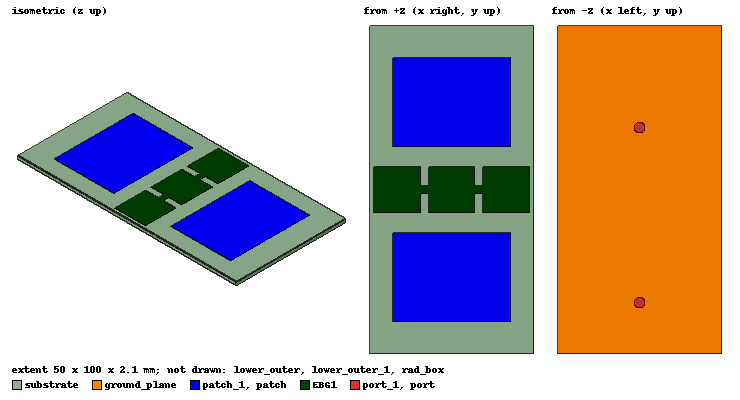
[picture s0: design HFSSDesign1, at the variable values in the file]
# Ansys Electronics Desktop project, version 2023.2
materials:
  vacuum: permittivity=1
  FR4_epoxy: permittivity=4.4 dielectric_loss_tangent=0.02
  pec: conductivity=1e+30
  air: permittivity=1.0006 permeability=1.0000004

design HFSSDesign1 (HFSS, HFSS Terminal Network, model units mm)
options: Allow_Material_Override
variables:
  subx = 50mm
  suby = 100mm
  subz = 1.6mm
  w = 36.1mm
  l = 27.4mm
  dy = 25.94mm
  fy = 5.92mm
  s = 14.1mm
  sp = 2.5mm
  via_r = 0.63mm
  sp_strip = 2.5mm
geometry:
  substrate [FR4_epoxy] = box(corner=(0mm, 0mm, 0mm), size=(subx, suby, subz))
  ground_plane = rectangle(corner=(0mm, 0mm, 0mm), x_size=subx, y_size=suby)
  patch = rectangle(corner=(subx/2-w/2, (suby-l-l-dy)/2, subz), x_size=w, y_size=l)
  patch_1 = patch.duplicate_along_line(step=(0mm, dy+l, 0mm), total=2)
  ground_cut = circle(normal=Z, centre=(subx/2-w/2+w/2, (suby-l-l-dy)/2+fy, 0), radius=1.6mm)
  ground_cut_1 = ground_cut.duplicate_along_line(step=(0mm, dy+l, 0mm), total=2)
  ground_plane.subtract(ground_cut)
  ground_plane.subtract(ground_cut_1)
  upper_inner [pec] = cylinder(axis=Z, base_centre=(subx/2-w/2+w/2, (suby-l-l-dy)/2+fy, 0mm), radius=0.6mm, height=subz)
  upper_inner_1 [pec] = upper_inner.duplicate_along_line(step=(0mm, dy+l, 0mm), total=2)
  lower_inner [pec] = cylinder(axis=Z, base_centre=(subx/2-w/2+w/2, (suby-l-l-dy)/2+fy, -0.5mm), radius=0.6mm, height=0.5mm)
  lower_inner_1 [pec] = lower_inner.duplicate_along_line(step=(0mm, dy+l, 0mm), total=2)
  lower_outer [vacuum] = cylinder(axis=Z, base_centre=(subx/2-w/2+w/2, (suby-l-l-dy)/2+fy, -0.5mm), radius=1.6mm, height=0.5mm)
  lower_outer_1 [vacuum] = lower_outer.duplicate_along_line(step=(0mm, dy+l, 0mm), total=2)
  port = circle(normal=Z, centre=(subx/2-w/2+w/2, (suby-l-l-dy)/2+fy, -0.5mm), radius=1.6mm)
  port_1 = port.duplicate_along_line(step=(0mm, dy+l, 0mm), total=2)
  rad_box [air] = box(corner=(-4mm, -4mm, 0mm), size=(subx+8mm, suby+8mm, subz*10))
  EBG1 = rectangle(corner=(subx/2-s/2, suby/2-s/2, subz), x_size=s, y_size=s)
  via [pec] = cylinder(axis=Z, base_centre=(subx/2, suby/2, 0), radius=via_r, height=subz)
  EBG1_2 = EBG1.duplicate_along_line(step=(-s-sp, 0mm, 0mm), total=5)  # copies kept: 1
  EBG1_6 = EBG1.duplicate_along_line(step=(s+sp, 0mm, 0mm), total=5)  # copies kept: 1
  patch2 = rectangle(corner=(subx/2-s/2-sp, suby/2-sp_strip/2, subz), x_size=sp, y_size=sp_strip)
  patch2_1 = patch2.duplicate_along_line(step=(s+sp, 0mm, 0mm), total=2)
  EBG1.unite(patch2, EBG1_2, EBG1_6, patch2_1)
  via_1 [pec] = via.duplicate_along_line(step=(-s-sp, 0mm, 0mm), total=2)
  via_2 [pec] = via.duplicate_along_line(step=(s+sp, 0mm, 0mm), total=2)
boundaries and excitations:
  PerfE1: Perfect E Objects=ground_plane
  PerfE2: Perfect E Objects=patch
  PerfE3: Perfect E Objects=patch_1
  Rad1: Radiation Faces=rad_box.face(+z, +y, +x, -y, -x)
  PerfE4: Perfect E Objects=EBG1
  lower_inner_T1: Terminal port=1 Faces=lower_inner.face(-z end) TerminalResistance=50ohm
  lower_inner_1_T1: Terminal port=2 Faces=lower_inner_1.face(at (25, 68.89, -0.5)) TerminalResistance=50ohm
  1: Wave Port Faces=port.face(at (25, 15.55, -0.5)) WavePortType=Terminal NumModes=1
  2: Wave Port Faces=port_1.face WavePortType=Terminal NumModes=1
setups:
  Setup2: HfssDrivenAuto AutoSolverSetting=Balanced SaveAnyFields=false Type=Interpolating
    sweep Sweep: 1GHz to 3GHz, 501 points;
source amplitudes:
  1:1: 1V 0deg
  2:1: 0V 0deg
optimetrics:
  ParametricSetup1: Parametric Sim._Setups=[Setup2]
    sweep sp: LIN 2.5mm 2.6mm 0.01mm
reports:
  Terminal S Parameter Plot 1: dB(St(lower_inner_T1,lower_inner_T1)) vs Freq on Setup2 : Sweep [sp=all]; markers m1 at 2.448GHz
  Terminal S Parameter Plot 2: dB(St(lower_inner_1_T1,lower_inner_T1)) vs Freq on Setup2 : Sweep [sp=all]
  Terminal S Parameter Plot 3: dB(St(lower_inner_T1,lower_inner_1_T1)) vs Freq on Setup2 : Sweep [sp=all]
  Terminal S Parameter Plot 4: dB(St(lower_inner_T1,lower_inner_T1)), dB(St(lower_inner_1_T1,lower_inner_T1)) vs Freq on Setup2 : Sweep [sp=2.6mm]; markers m1 at 2.464GHz
  Terminal S Parameter Plot 5: dB(St(lower_inner_T1,lower_inner_T1)), dB(St(lower_inner_1_T1,lower_inner_T1)) vs Freq on Setup2 : Sweep [sp=2.59mm]; markers m1 at 2.46GHz, m2 at 2.456GHz
  Terminal S Parameter Plot 6: dB(St(lower_inner_T1,lower_inner_T1)), dB(St(lower_inner_1_T1,lower_inner_T1)) vs Freq on Setup2 : Sweep [sp=2.58mm]
  Terminal S Parameter Plot 7: dB(St(lower_inner_T1,lower_inner_T1)), dB(St(lower_inner_1_T1,lower_inner_T1)) vs Freq on Setup2 : Sweep [sp=2.57mm]
  Terminal S Parameter Plot 11: dB(St(lower_inner_T1,lower_inner_T1)), dB(St(lower_inner_1_T1,lower_inner_T1)) vs Freq on Setup2 : Sweep [sp=2.53mm]
